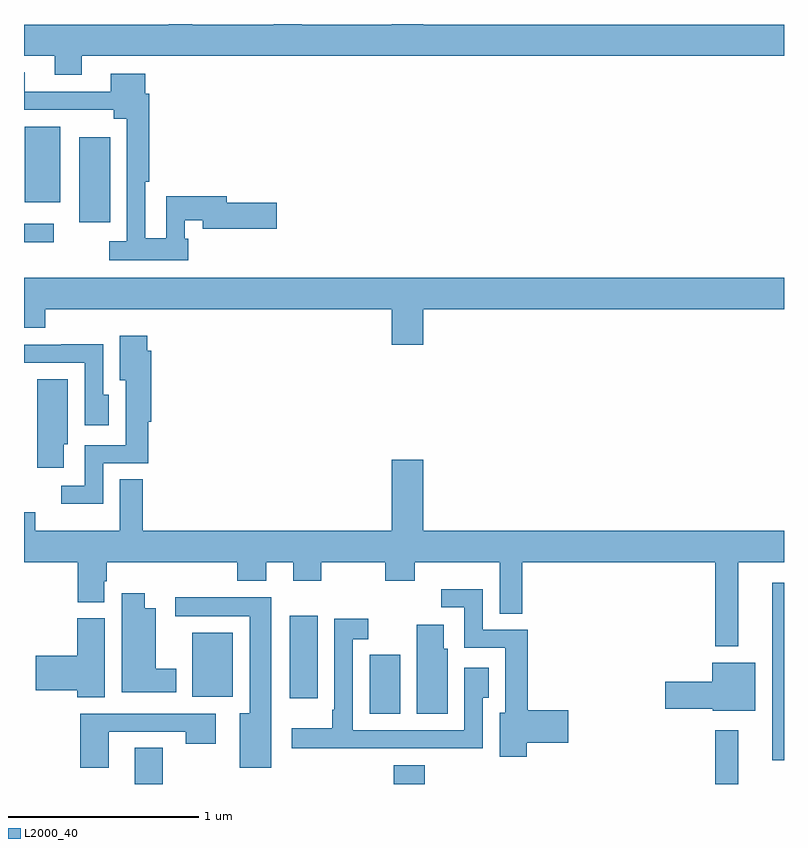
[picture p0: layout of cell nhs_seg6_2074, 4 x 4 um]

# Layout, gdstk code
import gdstk
lib = gdstk.Library(unit=1e-6, precision=1e-09)
def R(c, l, rs):  # rectangles x0, y0, x1, y1
    for r in rs: c.add(gdstk.rectangle(r[:2], r[2:], *l))
def P(c, l, *ps):  # polygons
    for p in ps: c.add(gdstk.Polygon(p, *l))
L2000_40 = (2000, 40)

nhs_seg6_2074 = lib.new_cell('nhs_seg6_2074')
R(nhs_seg6_2074, L2000_40, [(235.583,947.5,235.731,947.69), (236.945,947.5,237.11,947.599), (238.638,947.5,238.759,947.782), (238.937,947.625,239,948.559), (236.819,947.869,236.98,948.18), (236.399,947.952,236.545,948.385), (235.886,947.96,236.098,948.295), (235,950.352,235.156,950.448), (235.292,950.457,235.453,950.905), (235.004,950.561,235.192,950.959)])
P(nhs_seg6_2074, L2000_40, [(235.303,951.332),(239,951.332),(239,951.496),(237.1,951.496),(237.1,951.5),(236.936,951.5),(236.936,951.496),(236.463,951.496),(236.463,951.5),(236.315,951.5),(236.315,951.496),(235.885,951.496),(235.885,951.5),(235.763,951.5),(235.763,951.496),(235,951.496),(235,951.332),(235.163,951.332),(235.163,951.233),(235.303,951.233)],
  [(235.865,950.37),(235.845,950.37),(235.845,950.466),(235.94,950.466),(235.94,950.423),(236.329,950.423),(236.329,950.558),(236.068,950.558),(236.068,950.594),(235.749,950.594),(235.749,950.372),(235.638,950.372),(235.638,950.671),(235.658,950.671),(235.658,951.134),(235.639,951.134),(235.639,951.238),(235.457,951.238),(235.457,951.144),(235.003,951.144),(235.003,951.247),(235,951.247),(235,951.048),(235.472,951.048),(235.472,951.002),(235.542,951.002),(235.542,950.356),(235.449,950.356),(235.449,950.256),(235.865,950.256)],
  [(237.1,950),(239,950),(239,950.164),(235,950.164),(235,949.901),(235.112,949.901),(235.112,950),(236.936,950),(236.936,949.812),(237.1,949.812)],
  [(235.416,949.188),(235.654,949.188),(235.654,949.407),(235.67,949.407),(235.67,949.779),(235.649,949.779),(235.649,949.858),(235.505,949.858),(235.505,949.625),(235.535,949.625),(235.535,949.284),(235.32,949.284),(235.32,949.071),(235.197,949.071),(235.197,948.974),(235.416,948.974)],
  [(235.447,949.548),(235.416,949.548),(235.416,949.814),(235.195,949.814),(235.195,949.812),(235,949.812),(235,949.716),(235.32,949.716),(235.32,949.389),(235.447,949.389)],
  [(235.21,949.287),(235.231,949.287),(235.231,949.631),(235.07,949.631),(235.07,949.164),(235.21,949.164)],
  [(238.759,948.668),(239,948.668),(239,948.832),(237.1,948.832),(237.1,949.207),(236.936,949.207),(236.936,948.832),(235.624,948.832),(235.624,949.103),(235.505,949.103),(235.505,948.832),(235.059,948.832),(235.059,948.931),(235,948.931),(235,948.668),(235.283,948.668),(235.283,948.457),(235.423,948.457),(235.423,948.567),(235.436,948.567),(235.436,948.668),(236.123,948.668),(236.123,948.569),(236.275,948.569),(236.275,948.668),(236.417,948.668),(236.417,948.569),(236.565,948.569),(236.565,948.668),(236.902,948.668),(236.902,948.569),(237.057,948.569),(237.057,948.668),(237.503,948.668),(237.503,948.397),(237.622,948.397),(237.622,948.668),(238.638,948.668),(238.638,948.224),(238.759,948.224)],
  [(237.647,947.717),(237.865,947.717),(237.865,947.888),(237.652,947.888),(237.652,948.312),(237.414,948.312),(237.414,948.526),(237.195,948.526),(237.195,948.429),(237.318,948.429),(237.318,948.216),(237.533,948.216),(237.533,947.875),(237.503,947.875),(237.503,947.643),(237.647,947.643)],
  [(235.801,948.106),(235.693,948.106),(235.693,948.424),(235.636,948.424),(235.636,948.505),(235.514,948.505),(235.514,947.984),(235.801,947.984)],
  [(236.302,948.482),(235.797,948.482),(235.797,948.384),(236.189,948.384),(236.189,947.872),(236.135,947.872),(236.135,947.586),(236.302,947.586)],
  [(235.426,948.372),(235.28,948.372),(235.28,948.176),(235.062,948.176),(235.062,947.993),(235.28,947.993),(235.28,947.956),(235.426,947.956)],
  [(236.827,947.688),(237.193,947.688),(237.193,947.687),(237.414,947.687),(237.414,947.953),(237.445,947.953),(237.445,948.112),(237.318,948.112),(237.318,947.784),(236.73,947.784),(236.73,948.261),(236.812,948.261),(236.812,948.37),(236.634,948.37),(236.634,947.89),(236.622,947.89),(236.622,947.794),(236.409,947.794),(236.409,947.687),(236.827,947.687)],
  [(237.229,948.213),(237.208,948.213),(237.208,948.337),(237.068,948.337),(237.068,947.869),(237.229,947.869)],
  [(238.849,948.139),(238.622,948.139),(238.622,948.038),(238.374,948.038),(238.374,947.896),(238.626,947.896),(238.626,947.885),(238.849,947.885)],
  [(235.447,947.775),(235.852,947.775),(235.852,947.712),(236.008,947.712),(236.008,947.871),(235.295,947.871),(235.295,947.586),(235.447,947.586)])

lib.write_gds('nhs_seg6_2074.gds')
